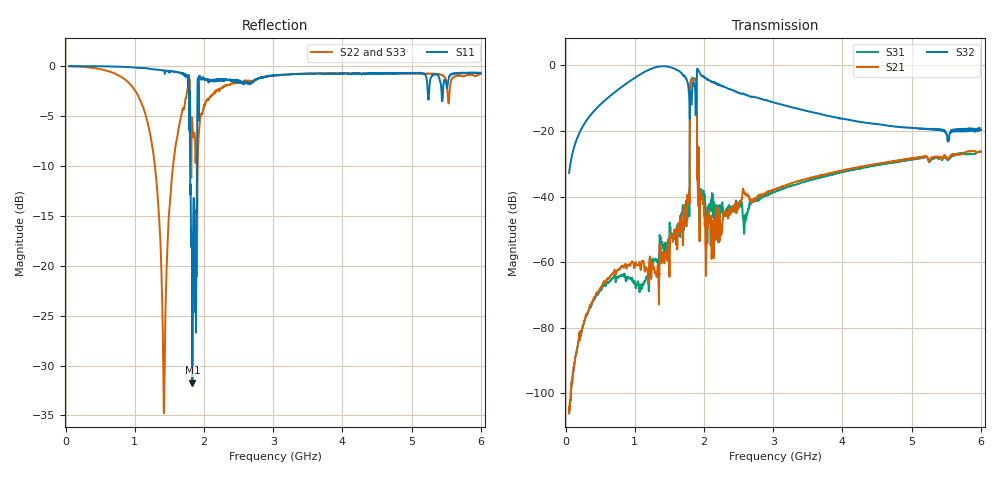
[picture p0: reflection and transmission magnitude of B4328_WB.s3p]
! Matrix data file written by TouchstoneData, EPCOS AG
! FILENAME: "ansys_B4328_03_WB.matched.snp"
! COMMENT: "test0 (B4328_03_WB.matched.snp)"
! INFO: nport=3, nfreq=1601
! DATE: "Mon Jul  8 13:27:58 2013"
! USER: "Daniel Harbusch"
! port | pin | signal
!  1  |  1  |  Input
!  2  |  3  |  Output balanced
!  3  |  4  |  Output balanced
# MHZ S MA R 50
! freq  magS11 angS11  magS12 angS12  magS13 angS13  ...
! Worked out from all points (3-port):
!   1601 points, 50 MHz to 6 GHz, reference 50 ohm
!   strongest paths, dB at 50 MHz, 1.538 GHz, 3.025 GHz, 4.513 GHz, 6 GHz:
!     S32: -32.8, -0.7, -11.4, -18.0, -19.7
!     S21: -106.1, -52.3, -37.8, -30.0, -26.3
!     S31: -106.1, -52.3, -38.6, -30.3, -26.3
!   lowest |S11| = -31.7 dB at 1.831 GHz (marker M1), VSWR 1.05, Z = 47.8 + j1.31 ohm
!   |S11| at or under -10 dB: 1.797 GHz to 1.899 GHz (101.4 MHz wide, 5.48 % of centre)
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50  1 175.0  4.945e-06 163.4  4.94e-06 163.4
    4.945e-06 163.4  0.9995 -2.6  0.02298 88.0
    4.94e-06 163.4  0.02298 88.0  0.9995 -2.6
864.4062  0.9909 78.1  0.0009443 112.1  0.0006029 119.8
          0.0009443 112.1  0.8542 -53.2  0.5157 36.9
          0.0006029 119.8  0.5157 36.9  0.8538 -53.3
1418.5  0.9511 -11.2  0.001198 -67.2  0.001643 -169.3
        0.001198 -67.2  0.01823 -53.4  0.9716 -36.5
        0.001643 -169.3  0.9716 -36.5  0.01812 -59.6
1667.656  0.9265 -61.3  0.003095 -170.8  0.005141 -135.2
          0.003095 -170.8  0.558 6.5  0.7721 -80.5
          0.005141 -135.2  0.7721 -80.5  0.5563 4.4
1760.625  0.8944 -111.8  0.008958 160.1  0.008603 -154.6
          0.008958 160.1  0.7662 -18.5  0.5569 -105.6
          0.008603 -154.6  0.5569 -105.6  0.7628 -21.3
1831.281  0.02593 148.0  0.601 -12.1  0.6306 166.9
          0.601 -12.1  0.5191 -37.4  0.4566 -33.1
          0.6306 166.9  0.4566 -33.1  0.4791 -39.2
1931.688  0.8955 15.1  0.003122 -37.1  0.00438 -147.2
          0.003122 -37.1  0.4961 21.7  0.8 -66.1
          0.00438 -147.2  0.8 -66.1  0.5 19.8
2028.375  0.8634 -36.7  0.0006155 56.8  0.006086 -143.9
          0.0006155 56.8  0.6603 -1.8  0.6334 -86.6
          0.006086 -143.9  0.6334 -86.6  0.66 -2.8
3025  0.8992 -107.2  0.01283 179.6  0.01174 176.2
      0.01283 179.6  0.8972 -50.2  0.268 -137.2
      0.01174 176.2  0.268 -137.2  0.8968 -52.3
6000  0.922 -175.7  0.04828 115.1  0.0485 114.1
      0.04828 115.1  0.914 -123.0  0.1031 146.6
      0.0485 114.1  0.1031 146.6  0.9125 -125.3
